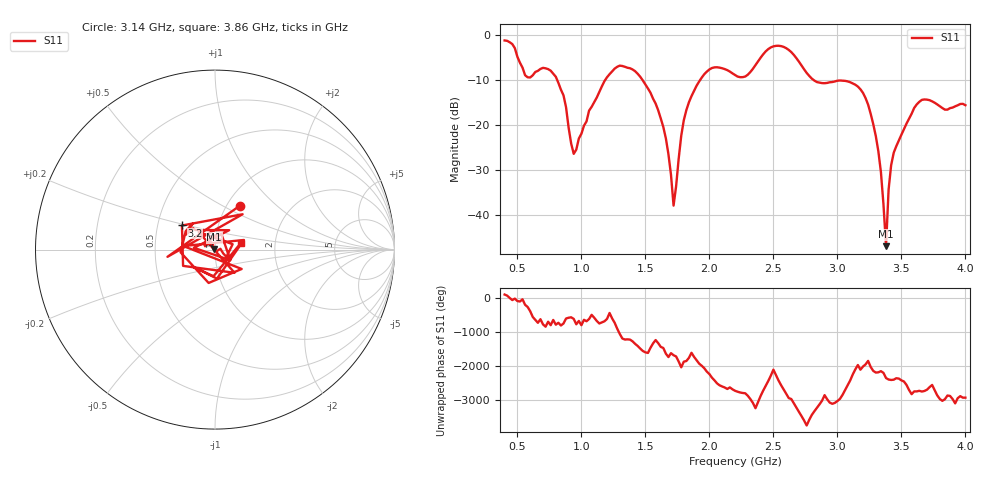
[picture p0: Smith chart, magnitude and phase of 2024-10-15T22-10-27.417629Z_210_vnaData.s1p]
! Created with skrf (http://scikit-rf.org).
# Hz S RI R 50.0
!freq ReS11 ImS11
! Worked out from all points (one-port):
!   181 points, 400 MHz to 4 GHz, reference 50 ohm
!   lowest |S11| = -46.9 dB at 3.38 GHz (marker M1), VSWR 1.01, Z = 49.6 + j0.104 ohm
!   |S11| at or under -10 dB: 811 MHz to 1.185 GHz (374.5 MHz wide, 37.5 % of centre); 1.478 GHz to 1.927 GHz (449.6 MHz wide, 26.4 % of centre); 2.815 GHz to end of sweep
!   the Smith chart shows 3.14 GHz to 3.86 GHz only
!   S11 on the Smith chart (normalised r, x): 3.14 GHz: 1.15, +0.61; 3.2 GHz: 0.67, +0.19; 3.86 GHz: 1.33, +0.10
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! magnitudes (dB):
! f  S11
! 400 MHz  -1.2
! 560 MHz  -8.9
! 740 MHz  -7.6
! 860 MHz  -13.4
! 940 MHz  -26.4
! 1.18 GHz  -10.2
! 1.3 GHz  -6.8
! 1.58 GHz  -15.2
! 1.66 GHz  -23.0
! 1.72 GHz  -37.9
! 1.76 GHz  -27.4
! 1.82 GHz  -16.7
! 1.94 GHz  -9.5
! 2.2 GHz  -8.9
! 2.5 GHz  -2.5
! 2.66 GHz  -4.4
! 2.84 GHz  -10.4
! 3.1 GHz  -10.5
! 3.14 GHz  -11.0
! 3.2 GHz  -12.8
! 3.32 GHz  -25.8
! 3.38 GHz  -46.9
! 3.4 GHz  -34.3
! 3.42 GHz  -28.9
! 3.56 GHz  -18.6
! 3.66 GHz  -14.4
! 3.86 GHz  -16.6
! 4 GHz  -15.6
